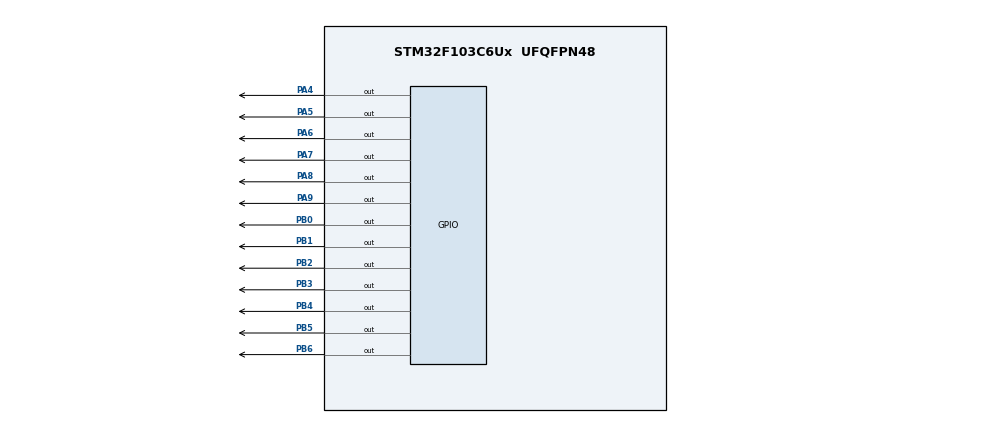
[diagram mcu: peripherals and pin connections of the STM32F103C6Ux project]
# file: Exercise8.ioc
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Mcu.Family=STM32F1
Mcu.Name=STM32F103C6Ux
Mcu.Package=UFQFPN48
NVIC.PriorityGroup=NVIC_PRIORITYGROUP_4
NVIC.TIM2_IRQn=true\:0\:0\:false\:false\:true\:true\:true\:true
PA4.Signal=GPIO_Output
PA5.Signal=GPIO_Output
PA6.Signal=GPIO_Output
PA7.Signal=GPIO_Output
PA8.Signal=GPIO_Output
PA9.Signal=GPIO_Output
PB0.Signal=GPIO_Output
PB1.Signal=GPIO_Output
PB2.Signal=GPIO_Output
PB3.Signal=GPIO_Output
PB4.Signal=GPIO_Output
PB5.Signal=GPIO_Output
PB6.Signal=GPIO_Output
ProjectManager.HeapSize=0x200
ProjectManager.StackSize=0x400
ProjectManager.TargetToolchain=STM32CubeIDE
RCC.APB1Freq_Value=8000000
RCC.APB2Freq_Value=8000000
TIM2.Period=9
TIM2.Prescaler=7999
VP_SYS_VS_ND.Mode=No_Debug
VP_TIM2_VS_ClockSourceINT.Mode=Internal
board=custom

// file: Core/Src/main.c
/* USER CODE BEGIN Header */
/**
  ******************************************************************************
  * @file           : main.c
  * @brief          : Main program body
  ******************************************************************************
  * @attention
  *
  * Copyright (c) 2025 STMicroelectronics.
  * All rights reserved.
  *
  * This software is licensed under terms that can be found in the LICENSE file
  * in the root directory of this software component.
  * If no LICENSE file comes with this software, it is provided AS-IS.
  *
  ******************************************************************************
  */
/* USER CODE END Header */
#include "main.h"

TIM_HandleTypeDef htim2;

void SystemClock_Config(void);
static void MX_GPIO_Init(void);
static void MX_TIM2_Init(void);
void updateClockBuffer(void);
void update7SEG(int index);
void setTimer0(int duration);
void setTimer1(int duration);
void timer_run();

/* USER CODE BEGIN 0 */
int led_buffer[4] = {0, 0, 0, 0};
int hour = 15, minute = 8, second = 50;
int timer0_counter = 0;
int timer0_flag = 0;
int timer1_counter = 0;
int timer1_flag = 0;
int TIMER_CYCLE = 10;
/* USER CODE END 0 */

int main(void)
{

  /* MCU Configuration--------------------------------------------------------*/

  /* Reset of all peripherals, Initializes the Flash interface and the Systick. */
  HAL_Init();

  /* Configure the system clock */
  SystemClock_Config();

  /* Initialize all configured peripherals */
  MX_GPIO_Init();
  MX_TIM2_Init();
  /* USER CODE BEGIN 2 */
  HAL_TIM_Base_Start_IT(&htim2);
  /* USER CODE END 2 */
  int index_led = 0;
  updateClockBuffer();
  /* Infinite loop */
  /* USER CODE BEGIN WHILE */
  setTimer0(1000);
  setTimer1(250);
  update7SEG(index_led++);
  while (1)
  {
    /* USER CODE END WHILE */
	if(timer0_flag == 1){
		if(second >= 60){
			second = 0;
			minute++;
		}
		if(minute >= 60){
			minute = 0;
			hour++;
		}
		if(hour >= 24){
			hour = 0;
		}
		HAL_GPIO_TogglePin(GPIOA, GPIO_PIN_4);
		updateClockBuffer();
		setTimer0(1000);
		second++;
	}
	if(timer1_flag == 1){
		if(index_led > 3){
				index_led = 0;
		}
		update7SEG(index_led++);
		HAL_GPIO_TogglePin(GPIOA, GPIO_PIN_5);
		setTimer1(250);
	}
  }
}

void SystemClock_Config(void)
{
  RCC_OscInitTypeDef RCC_OscInitStruct = {0};
  RCC_ClkInitTypeDef RCC_ClkInitStruct = {0};

  /** Initializes the RCC Oscillators according to the specified parameters
  * in the RCC_OscInitTypeDef structure.
  */
  RCC_OscInitStruct.OscillatorType = RCC_OSCILLATORTYPE_HSI;
  RCC_OscInitStruct.HSIState = RCC_HSI_ON;
  RCC_OscInitStruct.HSICalibrationValue = RCC_HSICALIBRATION_DEFAULT;
  RCC_OscInitStruct.PLL.PLLState = RCC_PLL_NONE;
  if (HAL_RCC_OscConfig(&RCC_OscInitStruct) != HAL_OK)
  {
    Error_Handler();
  }

  /** Initializes the CPU, AHB and APB buses clocks
  */
  RCC_ClkInitStruct.ClockType = RCC_CLOCKTYPE_HCLK|RCC_CLOCKTYPE_SYSCLK
                              |RCC_CLOCKTYPE_PCLK1|RCC_CLOCKTYPE_PCLK2;
  RCC_ClkInitStruct.SYSCLKSource = RCC_SYSCLKSOURCE_HSI;
  RCC_ClkInitStruct.AHBCLKDivider = RCC_SYSCLK_DIV1;
  RCC_ClkInitStruct.APB1CLKDivider = RCC_HCLK_DIV1;
  RCC_ClkInitStruct.APB2CLKDivider = RCC_HCLK_DIV1;

  if (HAL_RCC_ClockConfig(&RCC_ClkInitStruct, FLASH_LATENCY_0) != HAL_OK)
  {
    Error_Handler();
  }
}

static void MX_TIM2_Init(void)
{

  TIM_ClockConfigTypeDef sClockSourceConfig = {0};
  TIM_MasterConfigTypeDef sMasterConfig = {0};

  htim2.Instance = TIM2;
  htim2.Init.Prescaler = 7999;
  htim2.Init.CounterMode = TIM_COUNTERMODE_UP;
  htim2.Init.Period = 9;
  htim2.Init.ClockDivision = TIM_CLOCKDIVISION_DIV1;
  htim2.Init.AutoReloadPreload = TIM_AUTORELOAD_PRELOAD_DISABLE;
  if (HAL_TIM_Base_Init(&htim2) != HAL_OK)
  {
    Error_Handler();
  }
  sClockSourceConfig.ClockSource = TIM_CLOCKSOURCE_INTERNAL;
  if (HAL_TIM_ConfigClockSource(&htim2, &sClockSourceConfig) != HAL_OK)
  {
    Error_Handler();
  }
  sMasterConfig.MasterOutputTrigger = TIM_TRGO_RESET;
  sMasterConfig.MasterSlaveMode = TIM_MASTERSLAVEMODE_DISABLE;
  if (HAL_TIMEx_MasterConfigSynchronization(&htim2, &sMasterConfig) != HAL_OK)
  {
    Error_Handler();
  }

}

static void MX_GPIO_Init(void)
{
  GPIO_InitTypeDef GPIO_InitStruct = {0};

  /* GPIO Ports Clock Enable */
  __HAL_RCC_GPIOA_CLK_ENABLE();
  __HAL_RCC_GPIOB_CLK_ENABLE();

  /*Configure GPIO pin Output Level */
  HAL_GPIO_WritePin(GPIOA, GPIO_PIN_4|GPIO_PIN_5|GPIO_PIN_6|GPIO_PIN_7
                          |GPIO_PIN_8|GPIO_PIN_9, GPIO_PIN_RESET);

  /*Configure GPIO pin Output Level */
  HAL_GPIO_WritePin(GPIOB, GPIO_PIN_0|GPIO_PIN_1|GPIO_PIN_2|GPIO_PIN_3
                          |GPIO_PIN_4|GPIO_PIN_5|GPIO_PIN_6, GPIO_PIN_RESET);

  /*Configure GPIO pins : PA4 PA5 PA6 PA7
                           PA8 PA9 */
  GPIO_InitStruct.Pin = GPIO_PIN_4|GPIO_PIN_5|GPIO_PIN_6|GPIO_PIN_7
                          |GPIO_PIN_8|GPIO_PIN_9;
  GPIO_InitStruct.Mode = GPIO_MODE_OUTPUT_PP;
  GPIO_InitStruct.Pull = GPIO_NOPULL;
  GPIO_InitStruct.Speed = GPIO_SPEED_FREQ_LOW;
  HAL_GPIO_Init(GPIOA, &GPIO_InitStruct);

  /*Configure GPIO pins : PB0 PB1 PB2 PB3
                           PB4 PB5 PB6 */
  GPIO_InitStruct.Pin = GPIO_PIN_0|GPIO_PIN_1|GPIO_PIN_2|GPIO_PIN_3
                          |GPIO_PIN_4|GPIO_PIN_5|GPIO_PIN_6;
  GPIO_InitStruct.Mode = GPIO_MODE_OUTPUT_PP;
  GPIO_InitStruct.Pull = GPIO_NOPULL;
  GPIO_InitStruct.Speed = GPIO_SPEED_FREQ_LOW;
  HAL_GPIO_Init(GPIOB, &GPIO_InitStruct);

}

/* USER CODE BEGIN 4 */
void updateClockBuffer(void){
	led_buffer[0] = hour / 10; //extract hour second digit
	led_buffer[1] = hour % 10; //extract hour first digit
	led_buffer[2] = minute / 10; //extract minute second digit
	led_buffer[3] = minute % 10; //extract minute first digit
}
void display7SEG(int num){
  switch(num){
      case 0:
          HAL_GPIO_WritePin(GPIOB, GPIO_PIN_0 | GPIO_PIN_1 | GPIO_PIN_2 | GPIO_PIN_3 | GPIO_PIN_4 | GPIO_PIN_5, RESET);
          HAL_GPIO_WritePin(GPIOB,  GPIO_PIN_6, SET);
          break;
      case 1:
          HAL_GPIO_WritePin(GPIOB, GPIO_PIN_1 | GPIO_PIN_2, RESET);
          HAL_GPIO_WritePin(GPIOB,  GPIO_PIN_0 | GPIO_PIN_3 | GPIO_PIN_4 | GPIO_PIN_5 | GPIO_PIN_6, SET);
          break;
      case 2:
          HAL_GPIO_WritePin(GPIOB, GPIO_PIN_0 | GPIO_PIN_1 | GPIO_PIN_3 | GPIO_PIN_4 | GPIO_PIN_6, RESET);
          HAL_GPIO_WritePin(GPIOB,  GPIO_PIN_2 | GPIO_PIN_5, SET);
          break;
      case 3:
          HAL_GPIO_WritePin(GPIOB, GPIO_PIN_0 | GPIO_PIN_1 | GPIO_PIN_3 | GPIO_PIN_2 | GPIO_PIN_6, RESET);
          HAL_GPIO_WritePin(GPIOB,  GPIO_PIN_4 | GPIO_PIN_5, SET);
          break;
      case 4:
          HAL_GPIO_WritePin(GPIOB, GPIO_PIN_1 | GPIO_PIN_2 | GPIO_PIN_5 | GPIO_PIN_6, RESET);
          HAL_GPIO_WritePin(GPIOB,  GPIO_PIN_0 | GPIO_PIN_3 | GPIO_PIN_4, SET);
          break;
      case 5:
          HAL_GPIO_WritePin(GPIOB, GPIO_PIN_0 | GPIO_PIN_5 | GPIO_PIN_3 | GPIO_PIN_2 | GPIO_PIN_6, RESET);
          HAL_GPIO_WritePin(GPIOB,  GPIO_PIN_4 | GPIO_PIN_1, SET);
          break;
      case 6:
          HAL_GPIO_WritePin(GPIOB, GPIO_PIN_0 | GPIO_PIN_5 | GPIO_PIN_3 | GPIO_PIN_4 | GPIO_PIN_2 | GPIO_PIN_6, RESET);
          HAL_GPIO_WritePin(GPIOB, GPIO_PIN_1, SET);
          break;
      case 7:
          HAL_GPIO_WritePin(GPIOB, GPIO_PIN_0 | GPIO_PIN_1 | GPIO_PIN_2, RESET);
          HAL_GPIO_WritePin(GPIOB, GPIO_PIN_3 | GPIO_PIN_4 | GPIO_PIN_5 | GPIO_PIN_6, SET);
          break;
      case 8:
          HAL_GPIO_WritePin(GPIOB, GPIO_PIN_0 | GPIO_PIN_1 | GPIO_PIN_2 | GPIO_PIN_3 | GPIO_PIN_4 | GPIO_PIN_5 | GPIO_PIN_6, RESET);
          break;
      case 9:
          HAL_GPIO_WritePin(GPIOB, GPIO_PIN_0 | GPIO_PIN_1 | GPIO_PIN_2 | GPIO_PIN_3 | GPIO_PIN_5 | GPIO_PIN_6, RESET);
          HAL_GPIO_WritePin(GPIOB, GPIO_PIN_4, SET);
          break;
      default:
          HAL_GPIO_WritePin(GPIOB, GPIO_PIN_0 | GPIO_PIN_1 | GPIO_PIN_2 | GPIO_PIN_3 | GPIO_PIN_4 | GPIO_PIN_5 | GPIO_PIN_6, SET);
          break;
  }
}

const int MAX_LED = 4;

void update7SEG(int index){
	switch(index){
		case 0:
			HAL_GPIO_WritePin(GPIOA, GPIO_PIN_6, GPIO_PIN_RESET);
			HAL_GPIO_WritePin(GPIOA, GPIO_PIN_7 | GPIO_PIN_8 | GPIO_PIN_9, GPIO_PIN_SET);
			display7SEG(led_buffer[0]);
			break;
		case 1:
			HAL_GPIO_WritePin(GPIOA, GPIO_PIN_7, GPIO_PIN_RESET);
			HAL_GPIO_WritePin(GPIOA, GPIO_PIN_6 | GPIO_PIN_8 | GPIO_PIN_9, GPIO_PIN_SET);
			display7SEG(led_buffer[1]);
			break;
		case 2:
			HAL_GPIO_WritePin(GPIOA, GPIO_PIN_8, GPIO_PIN_RESET);
			HAL_GPIO_WritePin(GPIOA, GPIO_PIN_6 | GPIO_PIN_7 | GPIO_PIN_9, GPIO_PIN_SET);
			display7SEG(led_buffer[2]);
			break;
		case 3:
			HAL_GPIO_WritePin(GPIOA, GPIO_PIN_9, GPIO_PIN_RESET);
			HAL_GPIO_WritePin(GPIOA, GPIO_PIN_6 | GPIO_PIN_7 | GPIO_PIN_8, GPIO_PIN_SET);
			display7SEG(led_buffer[3]);
			break;
		default:
			break;
	}
}

void HAL_TIM_PeriodElapsedCallback(TIM_HandleTypeDef *htim){
	timer_run();
}

void setTimer0(int duration){
	timer0_counter = duration / TIMER_CYCLE;
	timer0_flag = 0;
}

void setTimer1(int duration){
	timer1_counter = duration / TIMER_CYCLE;
	timer1_flag = 0;
}

void timer_run(){
	if(timer0_counter > 0){
		timer0_counter--;
		if(timer0_counter == 0) timer0_flag = 1;
	}
	if(timer1_counter > 0){
		timer1_counter--;
		if(timer1_counter == 0) timer1_flag = 1;
	}
}
/* USER CODE END 4 */

void Error_Handler(void)
{
  __disable_irq();
  while (1)
  {
  }
}
